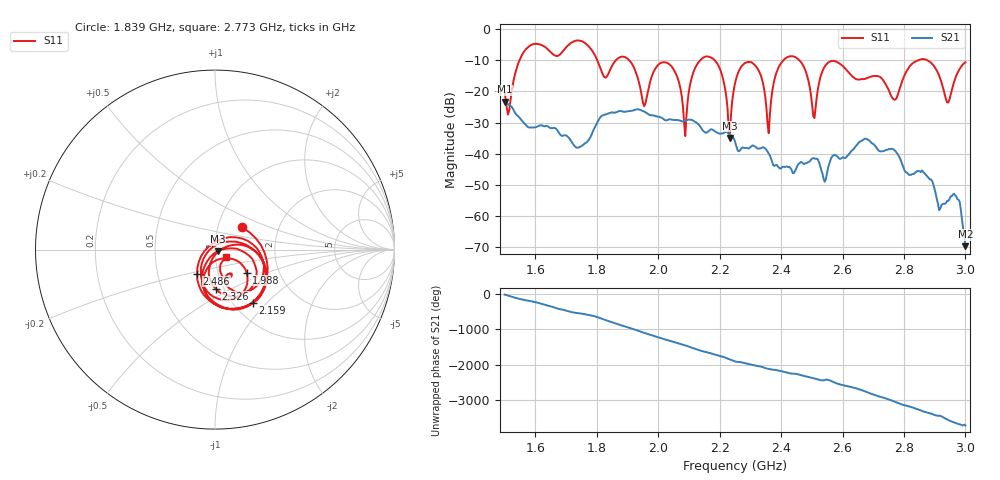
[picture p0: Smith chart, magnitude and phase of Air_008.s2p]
# HZ S RI R 50
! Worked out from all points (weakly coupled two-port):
!   404 points, 1.5 GHz to 3 GHz, reference 50 ohm
!   highest |S21| = -23.34 dB at 1.5 GHz (marker M1); lowest = -69.6 dB at 3 GHz (marker M2)
!   lowest |S11| = -35.0 dB at 2.233 GHz (marker M3), VSWR 1.04, Z = 51.6 - j0.925 ohm
!   |S11| at or under -10 dB: 1.905 GHz to 2.137 GHz (231.8 MHz wide, 11.5 % of centre); 2.184 GHz to 2.408 GHz (224.1 MHz wide, 9.76 % of centre); 2.459 GHz to 2.846 GHz (387.5 MHz wide, 14.6 % of centre) (the widest 3 of 6)
!   S12 and S22 are empty: the file has one direction only
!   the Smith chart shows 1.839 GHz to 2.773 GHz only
!   S11 on the Smith chart (normalised r, x): 1.839 GHz: 1.31, +0.34; 1.988 GHz: 1.37, -0.37; 2.159 GHz: 1.23, -0.83; 2.326 GHz: 0.92, -0.42; 2.486 GHz: 0.79, -0.22; 2.773 GHz: 1.13, -0.09
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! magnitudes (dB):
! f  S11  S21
! 1.5 GHz  -20.4  -23.3
! 1.582 GHz  -5.4  -31.6
! 1.753 GHz  -4.0  -37.4
! 1.839 GHz  -14.1  -27.1
! 1.954 GHz  -24.8  -26.5
! 1.988 GHz  -13.2  -27.8
! 2.002 GHz  -11.3  -28.2
! 2.088 GHz  -34.3  -29.6
! 2.159 GHz  -8.8  -33.2
! 2.233 GHz  -35.0  -33.8
! 2.252 GHz  -16.7  -36.8
! 2.326 GHz  -13.2  -38.3
! 2.36 GHz  -33.4  -39.9
! 2.408 GHz  -10.0  -44.2
! 2.486 GHz  -15.5  -42.8
! 2.501 GHz  -24.5  -41.5
! 2.565 GHz  -10.3  -41.1
! 2.751 GHz  -19.6  -38.5
! 2.773 GHz  -22.6  -39.2
! 2.851 GHz  -9.8  -45.6
! 2.97 GHz  -15.0  -53.7
! 3 GHz  -10.6  -69.6
